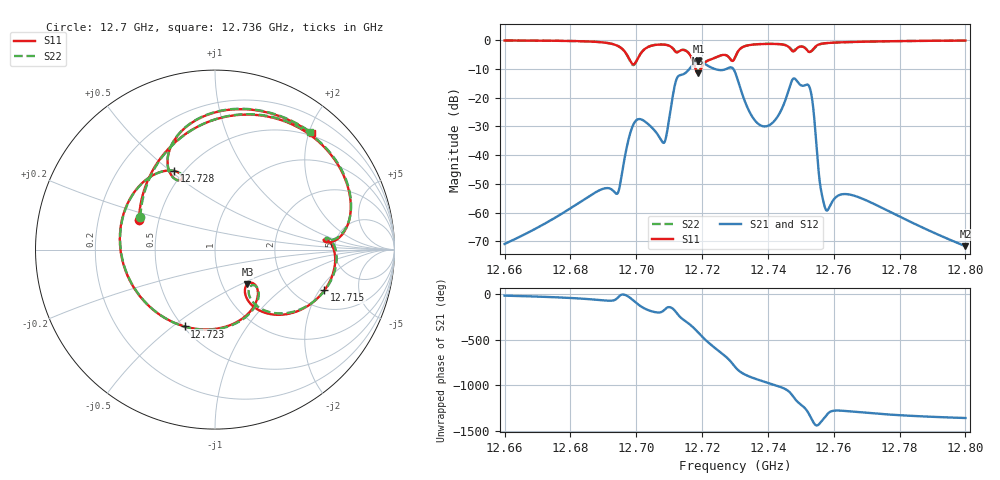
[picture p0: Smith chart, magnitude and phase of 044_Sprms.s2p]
! TOUCHSTONE file generated by CST MICROWAVE STUDIO
! Date and time: Wed Jul 31 12:53:31 2024
! Project name: WaveGuide_BPF-Ver4.1_U-shape_Ku_T3_C4_CWA_2.cst
! Parameters = {cavity_h=16; cavity_l0=10; cavity_l1=15.1746; cavity_l2=16.868; cavity_l3=17.1454; cavity_l4=17.231; cavity_l5=17.1455; cavity_l6=17.5824; cavity_r=2.5; cavity_screw_l=0.5; cavity_screw_r=1.5; cavity_w=8; iris_h00=0; iris_h01=8.8159; iris_h112=0; iris_h12=5.611; iris_h211=3.651; iris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
! Header version: 2018
! Port assignment regex: !\s*Touchstone port\s*([0-9]+)\s*=\s*(CST MWS port|CST DS port)\s*([0-9]+|Zmin|Zmax)\s*\(\"(.*)\"\)(\s*mode\s*([0-9]+))?.*
! Touchstone port assignment:
! Touchstone port 1 = CST MWS port 1 ("")
! Touchstone port 2 = CST MWS port 2 ("")
# GHz S RI R 50
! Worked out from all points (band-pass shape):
!   5001 points, 12.66 GHz to 12.8 GHz, reference 50 ohm
!   highest |S21| = -7.31 dB at 12.719 GHz (marker M1); lowest = -71.7 dB at 12.8 GHz (marker M2)
!   |S21| within 3 dB of the highest: 12.71595 GHz to 12.72462 GHz (8.667 MHz wide, 0.0681 % of centre); 12.72676 GHz to 12.72964 GHz (2.885 MHz wide, 0.0227 % of centre)
!   lowest |S11| = -11.6 dB at 12.719 GHz (marker M3), VSWR 1.72, Z = 65.7 - j27.2 ohm
!   |S11| at or under -10 dB: 12.71799 GHz to 12.71964 GHz (1.655 MHz wide, 0.013 % of centre)
!   |S22| runs from -10.9 to -0.2 dB; largest |S21 - S12| = 1e-09
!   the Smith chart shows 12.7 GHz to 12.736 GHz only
!   S11 on the Smith chart (normalised r, x): 12.7 GHz: 0.39, +0.16; 12.715 GHz: 2.83, -2.22; 12.723 GHz: 0.51, -0.55; 12.728 GHz: 0.45, +0.52; 12.736 GHz: 0.46, +2.05
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12.66  0.2576 0.9481  0.000269 -9.46e-05  0.000269 -9.46e-05  0.2554 0.9489
12.68335  0.6841 0.6633  0.000979 -0.00124  0.000979 -0.00124  0.6779 0.6706
12.69419  0.7934 -0.0961  0.00142 -0.00158  0.00142 -0.00158  0.797 -0.0777
12.69766  0.1332 -0.4748  0.0161 -0.00966  0.0161 -0.00966  0.1418 -0.4655
12.70026  -0.4236 0.1663  -0.0115 -0.0397  -0.0115 -0.0397  -0.4161 0.1802
12.70292  -0.0184 0.7187  -0.0363 -0.00859  -0.0363 -0.00859  -0.00589 0.7238
12.70668  0.5504 0.6236  -0.0202 0.00873  -0.0202 0.00873  0.5529 0.6264
12.70866  0.7128 0.4218  -0.0169 -0.003  -0.0169 -0.003  0.7129 0.4294
12.71505  0.6093 -0.2272  0.1386 0.2327  0.1386 0.2327  0.6217 -0.2134
12.71874  0.1807 -0.1923  0.2151 -0.3729  0.2151 -0.3729  0.1969 -0.2047
12.71888  0.1891 -0.1869  0.1791 -0.392  0.1791 -0.392  0.2038 -0.1997
12.72266  -0.1699 -0.428  -0.3252 0.0802  -0.3252 0.0802  -0.1686 -0.4293
12.72826  -0.2263 0.4378  0.3312 -0.00749  0.3312 -0.00749  -0.2222 0.4381
12.73  -0.2515 0.4289  0.0657 -0.2694  0.0657 -0.2694  -0.2511 0.4266
12.73644  0.5388 0.647  -0.0326 0.019  -0.0326 0.019  0.532 0.6551
12.74196  0.8514 0.0789  0.00247 0.0391  0.00247 0.0391  0.8517 0.1011
12.74784  0.5359 -0.3377  0.1415 -0.1621  0.1415 -0.1621  0.5621 -0.3356
12.75335  0.3979 -0.5213  0.0375 0.0939  0.0375 0.0939  0.3952 -0.513
12.75584  0.3351 -0.7806  0.0027 0.00159  0.0027 0.00159  0.3595 -0.7658
12.75764  0.1667 -0.8665  -0.000317 0.00107  -0.000317 0.00107  0.193 -0.8596
12.77668  -0.838 -0.4526  -0.000576 0.000893  -0.000576 0.000893  -0.8304 -0.4648
12.8  -0.9662 0.1481  2.44e-05 0.00026  2.44e-05 0.00026  -0.9667 0.1428
